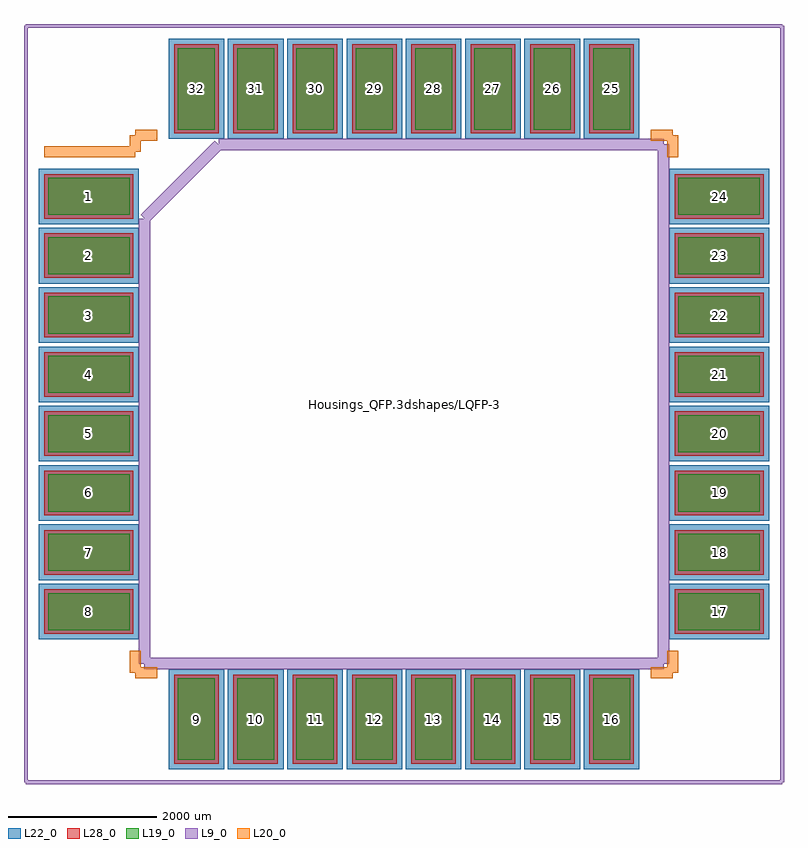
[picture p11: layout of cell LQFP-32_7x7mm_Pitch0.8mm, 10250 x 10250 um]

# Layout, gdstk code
import gdstk
lib = gdstk.Library(unit=1e-6, precision=1e-09)
def R(c, l, rs):  # rectangles x0, y0, x1, y1
    for r in rs: c.add(gdstk.rectangle(r[:2], r[2:], *l))
def A(c, l, x, y, w, h, nx, ny, dx, dy):  # array of equal rectangles
    R(c, l, [(x+i*dx, y+j*dy, x+i*dx+w, y+j*dy+h) for i in range(nx) for j in range(ny)])
L9_0 = (9, 0)
L19_0 = (19, 0)
L20_0 = (20, 0)
L22_0 = (22, 0)
L28_0 = (28, 0)

lqfp_32_7x7mm_pitch0_8mm = lib.new_cell('LQFP-32_7x7mm_Pitch0.8mm')
A(lqfp_32_7x7mm_pitch0_8mm, L19_0, -3050, -4800, 500, 1100, 8, 2, 800, 8500)
A(lqfp_32_7x7mm_pitch0_8mm, L19_0, -4800, -3050, 1100, 500, 1, 8, 0, 800)
A(lqfp_32_7x7mm_pitch0_8mm, L19_0, 3700, -3050, 1100, 500, 1, 8, 0, 800)
A(lqfp_32_7x7mm_pitch0_8mm, L22_0, -3175, -4925, 750, 1350, 8, 2, 800, 8500)
A(lqfp_32_7x7mm_pitch0_8mm, L22_0, -4925, -3175, 1350, 750, 1, 8, 0, 800)
A(lqfp_32_7x7mm_pitch0_8mm, L22_0, 3575, -3175, 1350, 750, 1, 8, 0, 800)
A(lqfp_32_7x7mm_pitch0_8mm, L28_0, -3100, -4850, 600, 1200, 8, 2, 800, 8500)
A(lqfp_32_7x7mm_pitch0_8mm, L28_0, -4850, -3100, 1200, 600, 1, 8, 0, 800)
A(lqfp_32_7x7mm_pitch0_8mm, L28_0, 3650, -3100, 1200, 600, 1, 8, 0, 800)
lqfp_32_7x7mm_pitch0_8mm.add(gdstk.FlexPath([(-3625,3400),(-4850,3400)], 149.998, ends="flush", simple_path=True, layer=20, datatype=0))  # L20_0
lqfp_32_7x7mm_pitch0_8mm.add(gdstk.FlexPath([(3625,3625),(3325,3625)], 149.998, ends="flush", simple_path=True, layer=20, datatype=0))  # L20_0
lqfp_32_7x7mm_pitch0_8mm.add(gdstk.FlexPath([(3625,-3625),(3325,-3625)], 149.998, ends="flush", simple_path=True, layer=20, datatype=0))  # L20_0
lqfp_32_7x7mm_pitch0_8mm.add(gdstk.FlexPath([(-3625,-3625),(-3325,-3625)], 149.998, ends="flush", simple_path=True, layer=20, datatype=0))  # L20_0
lqfp_32_7x7mm_pitch0_8mm.add(gdstk.FlexPath([(-3625,3625),(-3325,3625)], 149.998, ends="flush", simple_path=True, layer=20, datatype=0))  # L20_0
lqfp_32_7x7mm_pitch0_8mm.add(gdstk.FlexPath([(-3625,-3625),(-3625,-3325)], 149.998, ends="flush", simple_path=True, layer=20, datatype=0))  # L20_0
lqfp_32_7x7mm_pitch0_8mm.add(gdstk.FlexPath([(3625,-3625),(3625,-3325)], 149.998, ends="flush", simple_path=True, layer=20, datatype=0))  # L20_0
lqfp_32_7x7mm_pitch0_8mm.add(gdstk.FlexPath([(3625,3625),(3625,3325)], 149.998, ends="flush", simple_path=True, layer=20, datatype=0))  # L20_0
lqfp_32_7x7mm_pitch0_8mm.add(gdstk.FlexPath([(-3625,3625),(-3625,3400)], 149.998, ends="flush", simple_path=True, layer=20, datatype=0))  # L20_0
lqfp_32_7x7mm_pitch0_8mm.add(gdstk.FlexPath([(-5100,-5100),(5100,-5100)], 50, ends="flush", simple_path=True, layer=9, datatype=0))  # L9_0
lqfp_32_7x7mm_pitch0_8mm.add(gdstk.FlexPath([(-5100,5100),(5100,5100)], 50, ends="flush", simple_path=True, layer=9, datatype=0))  # L9_0
lqfp_32_7x7mm_pitch0_8mm.add(gdstk.FlexPath([(5100,5100),(5100,-5100)], 50, ends="flush", simple_path=True, layer=9, datatype=0))  # L9_0
lqfp_32_7x7mm_pitch0_8mm.add(gdstk.FlexPath([(-5100,5100),(-5100,-5100)], 50, ends="flush", simple_path=True, layer=9, datatype=0))  # L9_0
lqfp_32_7x7mm_pitch0_8mm.add(gdstk.FlexPath([(-3500,2500),(-2500,3500)], 149.998, ends="flush", simple_path=True, layer=9, datatype=0))  # L9_0
lqfp_32_7x7mm_pitch0_8mm.add(gdstk.FlexPath([(-3500,-3500),(-3500,2500)], 149.998, ends="flush", simple_path=True, layer=9, datatype=0))  # L9_0
lqfp_32_7x7mm_pitch0_8mm.add(gdstk.FlexPath([(3500,-3500),(-3500,-3500)], 149.998, ends="flush", simple_path=True, layer=9, datatype=0))  # L9_0
lqfp_32_7x7mm_pitch0_8mm.add(gdstk.FlexPath([(3500,3500),(3500,-3500)], 149.998, ends="flush", simple_path=True, layer=9, datatype=0))  # L9_0
lqfp_32_7x7mm_pitch0_8mm.add(gdstk.FlexPath([(-2500,3500),(3500,3500)], 149.998, ends="flush", simple_path=True, layer=9, datatype=0))  # L9_0
lqfp_32_7x7mm_pitch0_8mm.add(gdstk.Label('Housings_QFP.3dshapes/LQFP-32_7x7mm_Pitch0.8mm.wrl', (0,0), layer=12, texttype=0))
lqfp_32_7x7mm_pitch0_8mm.add(gdstk.Label('32', (-2800,4250), layer=28, texttype=0))
lqfp_32_7x7mm_pitch0_8mm.add(gdstk.Label('31', (-2000,4250), layer=28, texttype=0))
lqfp_32_7x7mm_pitch0_8mm.add(gdstk.Label('30', (-1200,4250), layer=28, texttype=0))
lqfp_32_7x7mm_pitch0_8mm.add(gdstk.Label('29', (-400,4250), layer=28, texttype=0))
lqfp_32_7x7mm_pitch0_8mm.add(gdstk.Label('28', (400,4250), layer=28, texttype=0))
lqfp_32_7x7mm_pitch0_8mm.add(gdstk.Label('27', (1200,4250), layer=28, texttype=0))
lqfp_32_7x7mm_pitch0_8mm.add(gdstk.Label('26', (2000,4250), layer=28, texttype=0))
lqfp_32_7x7mm_pitch0_8mm.add(gdstk.Label('25', (2800,4250), layer=28, texttype=0))
lqfp_32_7x7mm_pitch0_8mm.add(gdstk.Label('24', (4250,2800), layer=28, texttype=0))
lqfp_32_7x7mm_pitch0_8mm.add(gdstk.Label('23', (4250,2000), layer=28, texttype=0))
lqfp_32_7x7mm_pitch0_8mm.add(gdstk.Label('22', (4250,1200), layer=28, texttype=0))
lqfp_32_7x7mm_pitch0_8mm.add(gdstk.Label('21', (4250,400), layer=28, texttype=0))
lqfp_32_7x7mm_pitch0_8mm.add(gdstk.Label('20', (4250,-400), layer=28, texttype=0))
lqfp_32_7x7mm_pitch0_8mm.add(gdstk.Label('19', (4250,-1200), layer=28, texttype=0))
lqfp_32_7x7mm_pitch0_8mm.add(gdstk.Label('18', (4250,-2000), layer=28, texttype=0))
lqfp_32_7x7mm_pitch0_8mm.add(gdstk.Label('17', (4250,-2800), layer=28, texttype=0))
lqfp_32_7x7mm_pitch0_8mm.add(gdstk.Label('16', (2800,-4250), layer=28, texttype=0))
lqfp_32_7x7mm_pitch0_8mm.add(gdstk.Label('15', (2000,-4250), layer=28, texttype=0))
lqfp_32_7x7mm_pitch0_8mm.add(gdstk.Label('14', (1200,-4250), layer=28, texttype=0))
lqfp_32_7x7mm_pitch0_8mm.add(gdstk.Label('13', (400,-4250), layer=28, texttype=0))
lqfp_32_7x7mm_pitch0_8mm.add(gdstk.Label('12', (-400,-4250), layer=28, texttype=0))
lqfp_32_7x7mm_pitch0_8mm.add(gdstk.Label('11', (-1200,-4250), layer=28, texttype=0))
lqfp_32_7x7mm_pitch0_8mm.add(gdstk.Label('10', (-2000,-4250), layer=28, texttype=0))
lqfp_32_7x7mm_pitch0_8mm.add(gdstk.Label('9', (-2800,-4250), layer=28, texttype=0))
lqfp_32_7x7mm_pitch0_8mm.add(gdstk.Label('8', (-4250,-2800), layer=28, texttype=0))
lqfp_32_7x7mm_pitch0_8mm.add(gdstk.Label('7', (-4250,-2000), layer=28, texttype=0))
lqfp_32_7x7mm_pitch0_8mm.add(gdstk.Label('6', (-4250,-1200), layer=28, texttype=0))
lqfp_32_7x7mm_pitch0_8mm.add(gdstk.Label('5', (-4250,-400), layer=28, texttype=0))
lqfp_32_7x7mm_pitch0_8mm.add(gdstk.Label('4', (-4250,400), layer=28, texttype=0))
lqfp_32_7x7mm_pitch0_8mm.add(gdstk.Label('3', (-4250,1200), layer=28, texttype=0))
lqfp_32_7x7mm_pitch0_8mm.add(gdstk.Label('2', (-4250,2000), layer=28, texttype=0))
lqfp_32_7x7mm_pitch0_8mm.add(gdstk.Label('1', (-4250,2800), layer=28, texttype=0))
lqfp_32_7x7mm_pitch0_8mm.add(gdstk.Label('%R', (0,0), layer=9, texttype=0))
lqfp_32_7x7mm_pitch0_8mm.add(gdstk.Label('type', (0,-5850), layer=9, texttype=0))
lqfp_32_7x7mm_pitch0_8mm.add(gdstk.Label('devicename', (0,5850), layer=9, texttype=0))

lib.write_gds('LQFP-32_7x7mm_Pitch0.8mm.gds')
